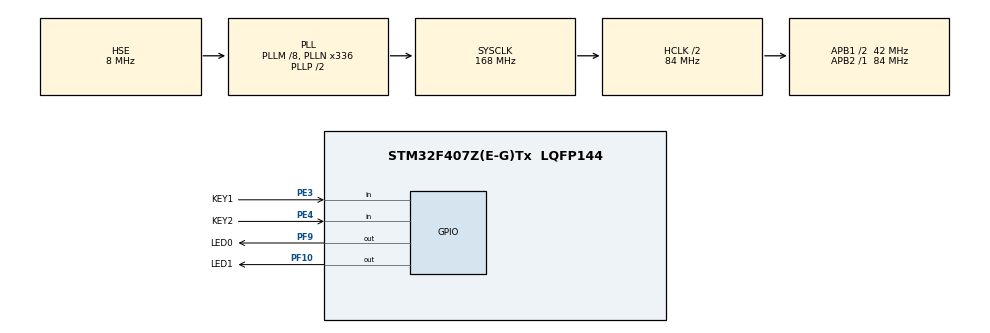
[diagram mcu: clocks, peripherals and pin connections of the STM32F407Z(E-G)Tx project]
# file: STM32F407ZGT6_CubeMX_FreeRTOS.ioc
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FREERTOS.Tasks01=defaultTask,0,128,StartDefaultTask,Default,NULL,Dynamic,NULL,NULL;myTask02,0,128,StartTask02,Default,NULL,Dynamic,NULL,NULL
Mcu.Family=STM32F4
Mcu.Name=STM32F407Z(E-G)Tx
Mcu.Package=LQFP144
NVIC.PriorityGroup=NVIC_PRIORITYGROUP_4
NVIC.TIM1_UP_TIM10_IRQn=true\:0\:0\:false\:false\:true\:false\:false\:true
NVIC.TimeBase=TIM1_UP_TIM10_IRQn
NVIC.TimeBaseIP=TIM1
PA13.Mode=Serial_Wire
PA13.Signal=SYS_JTMS-SWDIO
PA14.Mode=Serial_Wire
PA14.Signal=SYS_JTCK-SWCLK
PE3.GPIO_Label=KEY1
PE3.GPIO_PuPd=GPIO_PULLUP
PE3.Signal=GPIO_Input
PE4.GPIO_Label=KEY2
PE4.GPIO_PuPd=GPIO_PULLUP
PE4.Signal=GPIO_Input
PF10.GPIO_Label=LED1
PF10.GPIO_PuPd=GPIO_PULLUP
PF10.GPIO_Speed=GPIO_SPEED_FREQ_HIGH
PF10.PinState=GPIO_PIN_RESET
PF10.Signal=GPIO_Output
PF9.GPIO_Label=LED0
PF9.GPIO_PuPd=GPIO_PULLUP
PF9.GPIO_Speed=GPIO_SPEED_FREQ_HIGH
PF9.PinState=GPIO_PIN_RESET
PF9.Signal=GPIO_Output
PH0-OSC_IN.Mode=HSE-External-Oscillator
PH0-OSC_IN.Signal=RCC_OSC_IN
PH1-OSC_OUT.Mode=HSE-External-Oscillator
PH1-OSC_OUT.Signal=RCC_OSC_OUT
ProjectManager.HeapSize=0x200
ProjectManager.StackSize=0x400
ProjectManager.TargetToolchain=MDK-ARM V5.27
RCC.48MHZClocksFreq_Value=84000000
RCC.AHBCLKDivider=RCC_SYSCLK_DIV2
RCC.AHBFreq_Value=84000000
RCC.APB1CLKDivider=RCC_HCLK_DIV2
RCC.APB1Freq_Value=42000000
RCC.APB1TimFreq_Value=84000000
RCC.APB2Freq_Value=84000000
RCC.APB2TimFreq_Value=84000000
RCC.CortexFreq_Value=84000000
RCC.HCLKFreq_Value=84000000
RCC.HSE_VALUE=8000000
RCC.HSI_VALUE=16000000
RCC.LSE_VALUE=32768
RCC.PLLM=8
RCC.PLLN=336
RCC.PLLSourceVirtual=RCC_PLLSOURCE_HSE
RCC.SYSCLKFreq_VALUE=168000000
RCC.SYSCLKSource=RCC_SYSCLKSOURCE_PLLCLK
RCC.VCOOutputFreq_Value=336000000
VP_FREERTOS_VS_CMSIS_V1.Mode=CMSIS_V1
VP_SYS_VS_tim1.Mode=TIM1
board=custom

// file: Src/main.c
/* USER CODE BEGIN Header */
/**
  ******************************************************************************
  * @file           : main.c
  * @brief          : Main program body
  ******************************************************************************
  * @attention
  *
  * <h2><center>&copy; Copyright (c) 2021 STMicroelectronics.
  * All rights reserved.</center></h2>
  *
  * This software component is licensed by ST under Ultimate Liberty license
  * SLA0044, the "License"; You may not use this file except in compliance with
  * the License. You may obtain a copy of the License at:
  *                             www.st.com/SLA0044
  *
  ******************************************************************************
  */
/* USER CODE END Header */
#include "main.h"
#include "cmsis_os.h"
#include "gpio.h"

void SystemClock_Config(void);
void MX_FREERTOS_Init(void);

int main(void)
{

  /* MCU Configuration--------------------------------------------------------*/

  /* Reset of all peripherals, Initializes the Flash interface and the Systick. */
  HAL_Init();

  /* Configure the system clock */
  SystemClock_Config();

  /* Initialize all configured peripherals */
  MX_GPIO_Init();

  /* Call init function for freertos objects (in freertos.c) */
  MX_FREERTOS_Init();
  /* Start scheduler */
  osKernelStart();

  /* We should never get here as control is now taken by the scheduler */
  /* Infinite loop */
  while (1)
  {

  }
}

void SystemClock_Config(void)
{
  RCC_OscInitTypeDef RCC_OscInitStruct = {0};
  RCC_ClkInitTypeDef RCC_ClkInitStruct = {0};

  /** Configure the main internal regulator output voltage
  */
  __HAL_RCC_PWR_CLK_ENABLE();
  __HAL_PWR_VOLTAGESCALING_CONFIG(PWR_REGULATOR_VOLTAGE_SCALE1);
  /** Initializes the RCC Oscillators according to the specified parameters
  * in the RCC_OscInitTypeDef structure.
  */
  RCC_OscInitStruct.OscillatorType = RCC_OSCILLATORTYPE_HSE;
  RCC_OscInitStruct.HSEState = RCC_HSE_ON;
  RCC_OscInitStruct.PLL.PLLState = RCC_PLL_ON;
  RCC_OscInitStruct.PLL.PLLSource = RCC_PLLSOURCE_HSE;
  RCC_OscInitStruct.PLL.PLLM = 8;
  RCC_OscInitStruct.PLL.PLLN = 336;
  RCC_OscInitStruct.PLL.PLLP = RCC_PLLP_DIV2;
  RCC_OscInitStruct.PLL.PLLQ = 4;
  if (HAL_RCC_OscConfig(&RCC_OscInitStruct) != HAL_OK)
  {
    Error_Handler();
  }
  /** Initializes the CPU, AHB and APB buses clocks
  */
  RCC_ClkInitStruct.ClockType = RCC_CLOCKTYPE_HCLK|RCC_CLOCKTYPE_SYSCLK
                              |RCC_CLOCKTYPE_PCLK1|RCC_CLOCKTYPE_PCLK2;
  RCC_ClkInitStruct.SYSCLKSource = RCC_SYSCLKSOURCE_PLLCLK;
  RCC_ClkInitStruct.AHBCLKDivider = RCC_SYSCLK_DIV2;
  RCC_ClkInitStruct.APB1CLKDivider = RCC_HCLK_DIV2;
  RCC_ClkInitStruct.APB2CLKDivider = RCC_HCLK_DIV1;

  if (HAL_RCC_ClockConfig(&RCC_ClkInitStruct, FLASH_LATENCY_2) != HAL_OK)
  {
    Error_Handler();
  }
}

void HAL_TIM_PeriodElapsedCallback(TIM_HandleTypeDef *htim)
{
  if (htim->Instance == TIM1) {
    HAL_IncTick();
  }
}

void Error_Handler(void)
{
}

/************************ (C) COPYRIGHT STMicroelectronics *****END OF FILE****/

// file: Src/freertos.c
/* USER CODE BEGIN Header */
/**
  ******************************************************************************
  * File Name          : freertos.c
  * Description        : Code for freertos applications
  ******************************************************************************
  * @attention
  *
  * <h2><center>&copy; Copyright (c) 2021 STMicroelectronics.
  * All rights reserved.</center></h2>
  *
  * This software component is licensed by ST under Ultimate Liberty license
  * SLA0044, the "License"; You may not use this file except in compliance with
  * the License. You may obtain a copy of the License at:
  *                             www.st.com/SLA0044
  *
  ******************************************************************************
  */
/* USER CODE END Header */

#include "FreeRTOS.h"
#include "task.h"
#include "main.h"
#include "cmsis_os.h"

/* USER CODE BEGIN Includes */
#include "SEGGER_RTT.h"
/* USER CODE END Includes */

/* USER CODE BEGIN Variables */
uint8_t kValue = 0;
/* USER CODE END Variables */
osThreadId defaultTaskHandle;
osThreadId myTask02Handle;

/* USER CODE BEGIN FunctionPrototypes */
uint8_t KEY_Scan(void);
/* USER CODE END FunctionPrototypes */

void StartDefaultTask(void const * argument);
void StartTask02(void const * argument);

void MX_FREERTOS_Init(void); /* (MISRA C 2004 rule 8.1) */

/* GetIdleTaskMemory prototype (linked to static allocation support) */
void vApplicationGetIdleTaskMemory( StaticTask_t **ppxIdleTaskTCBBuffer, StackType_t **ppxIdleTaskStackBuffer, uint32_t *pulIdleTaskStackSize );

/* USER CODE BEGIN GET_IDLE_TASK_MEMORY */
static StaticTask_t xIdleTaskTCBBuffer;
static StackType_t xIdleStack[configMINIMAL_STACK_SIZE];

void vApplicationGetIdleTaskMemory( StaticTask_t **ppxIdleTaskTCBBuffer, StackType_t **ppxIdleTaskStackBuffer, uint32_t *pulIdleTaskStackSize )
{
    *ppxIdleTaskTCBBuffer = &xIdleTaskTCBBuffer;
    *ppxIdleTaskStackBuffer = &xIdleStack[0];
    *pulIdleTaskStackSize = configMINIMAL_STACK_SIZE;
    /* place for user code */
}
/* USER CODE END GET_IDLE_TASK_MEMORY */

void MX_FREERTOS_Init(void) {

  /* Create the thread(s) */
  /* definition and creation of defaultTask */
  osThreadDef(defaultTask, StartDefaultTask, osPriorityNormal, 0, 128);
  defaultTaskHandle = osThreadCreate(osThread(defaultTask), NULL);

  /* definition and creation of myTask02 */
  osThreadDef(myTask02, StartTask02, osPriorityNormal, 0, 128);
  myTask02Handle = osThreadCreate(osThread(myTask02), NULL);

}

void StartDefaultTask(void const * argument)
{
  /* USER CODE BEGIN StartDefaultTask */
    /* Infinite loop */
    for(;;)
    {
		kValue = KEY_Scan();
        osDelay(200);

    }
  /* USER CODE END StartDefaultTask */
}

void StartTask02(void const * argument)
{
  /* USER CODE BEGIN StartTask02 */
    /* Infinite loop */
	static uint8_t flag1 = 0;
    static uint8_t flag2 = 0;

    for(;;)
    {
        if(kValue == 1)
        {
            SEGGER_RTT_printf(0, "k1 被按下了\r\n");

            if(flag1 == 0) //灯关着就打开
            {
                HAL_GPIO_WritePin(LED0_GPIO_Port, LED0_Pin, GPIO_PIN_SET);
                flag1 = 1;
            }
            else if(flag1 == 1) //开着就关闭
            {
                HAL_GPIO_WritePin(LED0_GPIO_Port, LED0_Pin, GPIO_PIN_RESET);
                flag1 = 0;
            }
        }
        else if(kValue == 2)
        {
            SEGGER_RTT_printf(0, "k2 被按下了\r\n");

            if(flag2 == 0) //灯关着就打开
            {
                HAL_GPIO_WritePin(LED1_GPIO_Port, LED1_Pin, GPIO_PIN_SET);
                flag2 = 1;
            }
            else if(flag2 == 1) //开着就关闭
            {
                HAL_GPIO_WritePin(LED1_GPIO_Port, LED1_Pin, GPIO_PIN_RESET);
                flag2 = 0;
            }
        }
        osDelay(200);
    }
  /* USER CODE END StartTask02 */
}

/* USER CODE BEGIN Application */

/* 检测k1、k2按键是否按下，并返回各自的键值，这里将k1的键值设定为1，k2的设定为2 */
uint8_t KEY_Scan(void)
{
    //没有key_up，会导致按下按键再松开之前，多次调用KEY_Scan时，每次都会检测到按键
    //被按下了，有了key_up，第一次调用KEY_Scan时返回键值，后面几次调用时会通过
    //key_up检测到已经返回过一次键值了，不再返回键值
    static uint8_t key_up = 0;

    int KEY1 = HAL_GPIO_ReadPin(KEY1_GPIO_Port, GPIO_PIN_3);
    int KEY2 = HAL_GPIO_ReadPin(KEY2_GPIO_Port, GPIO_PIN_4);

    if((key_up == 0) && (KEY1 == 0 || KEY2 == 0)) //检测到刚按下进入，如果是按住不放不会进入
    {
        osDelay(100);                      //去抖动
        key_up = 1;                        //设置标志位，表示按下

        if(KEY1 == 0)return 1; 				//如果k1按下就返回1
        else if(KEY2 == 0)return 2; 		//如果k2按下就返回2
    }
    else if(KEY1 == 1 && KEY2 == 1) key_up = 0; 	 //按键松开，清标志位

    return 0;                              //无按键按下或松开了时就返回0
}
/* USER CODE END Application */

/************************ (C) COPYRIGHT STMicroelectronics *****END OF FILE****/
